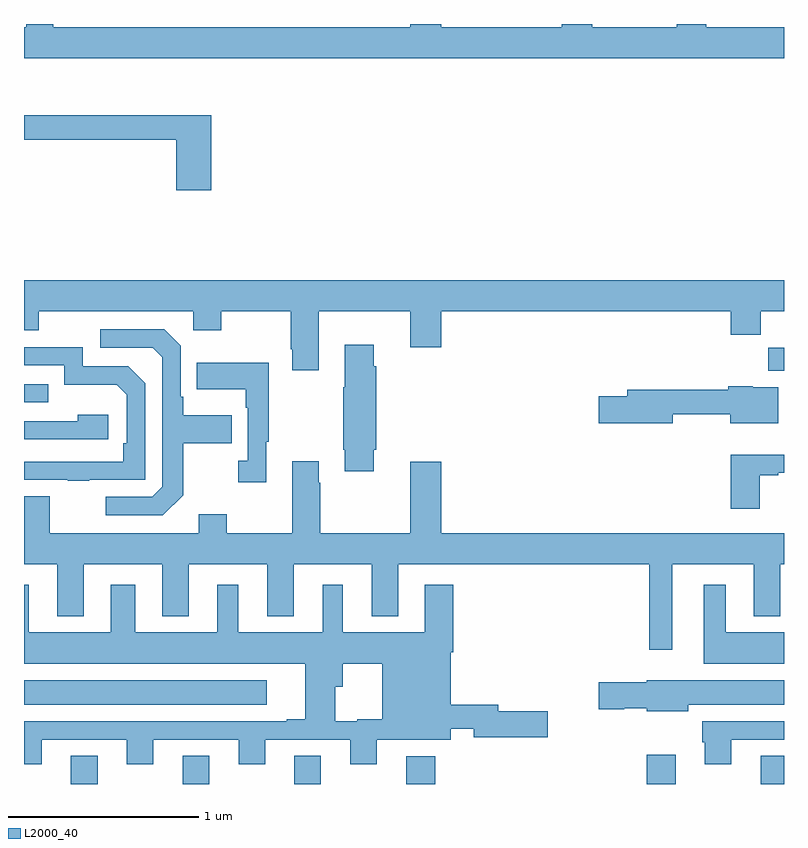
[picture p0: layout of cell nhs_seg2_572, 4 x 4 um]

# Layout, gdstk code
import gdstk
lib = gdstk.Library(unit=1e-6, precision=1e-09)
def R(c, l, rs):  # rectangles x0, y0, x1, y1
    for r in rs: c.add(gdstk.rectangle(r[:2], r[2:], *l))
def A(c, l, x, y, w, h, nx, ny, dx, dy):  # array of equal rectangles
    R(c, l, [(x+i*dx, y+j*dy, x+i*dx+w, y+j*dy+h) for i in range(nx) for j in range(ny)])
def P(c, l, *ps):  # polygons
    for p in ps: c.add(gdstk.Polygon(p, *l))
L2000_40 = (2000, 40)

nhs_seg2_572 = lib.new_cell('nhs_seg2_572')
A(nhs_seg2_572, L2000_40, 139.247, 659.8, 0.14, 0.148, 3, 1, 0.588, 0)
R(nhs_seg2_572, L2000_40, [(141.011,659.8,141.164,659.947), (142.277,659.8,142.429,659.953), (142.877,659.8,143,659.948), (139,660.218,140.278,660.346), (139,661.809,139.127,661.905), (142.918,661.976,143,662.095)])
P(nhs_seg2_572, L2000_40, [(143,663.784),(142.59,663.784),(142.59,663.8),(142.435,663.8),(142.435,663.784),(141.99,663.784),(141.99,663.8),(141.83,663.8),(141.83,663.784),(141.196,663.784),(141.196,663.8),(141.032,663.8),(141.032,663.784),(139.153,663.784),(139.153,663.8),(139.013,663.8),(139.013,663.784),(139,663.784),(139,663.62),(143,663.62)],
  [(139.985,663.319),(139,663.319),(139,663.19),(139.802,663.19),(139.802,662.925),(139.985,662.925)],
  [(140.551,662.288),(141.032,662.288),(141.032,662.1),(141.196,662.1),(141.196,662.288),(142.721,662.288),(142.721,662.164),(142.877,662.164),(142.877,662.288),(143,662.288),(143,662.452),(139,662.452),(139,662.189),(139.077,662.189),(139.077,662.288),(139.89,662.288),(139.89,662.189),(140.037,662.189),(140.037,662.288),(140.404,662.288),(140.404,662.089),(140.411,662.089),(140.411,661.977),(140.551,661.977)],
  [(139.837,661.321),(139.837,661.594),(140.093,661.594),(140.093,661.741),(139.837,661.741),(139.837,661.837),(139.824,661.837),(139.824,662.106),(139.737,662.193),(139.401,662.193),(139.401,662.097),(139.677,662.097),(139.728,662.046),(139.728,661.365),(139.674,661.311),(139.431,661.311),(139.431,661.215),(139.731,661.215)],
  [(140.842,661.558),(140.855,661.558),(140.855,662),(140.842,662),(140.842,662.113),(140.687,662.113),(140.687,661.889),(140.68,661.889),(140.68,661.558),(140.687,661.558),(140.687,661.446),(140.842,661.446)],
  [(139.343,661.401),(139.638,661.401),(139.638,661.908),(139.548,661.998),(139.308,661.998),(139.308,662.1),(139,662.1),(139,662.004),(139.212,662.004),(139.212,661.901),(139.489,661.901),(139.542,661.848),(139.542,661.594),(139.522,661.594),(139.522,661.497),(139,661.497),(139,661.401),(139.231,661.401),(139.231,661.396),(139.343,661.396)],
  [(140.275,661.601),(140.287,661.601),(140.287,662.017),(139.909,662.017),(139.909,661.877),(140.166,661.877),(140.166,661.781),(140.178,661.781),(140.178,661.502),(140.127,661.502),(140.127,661.389),(140.275,661.389)],
  [(142.414,661.747),(142.718,661.747),(142.718,661.7),(142.969,661.7),(142.969,661.888),(142.836,661.888),(142.836,661.894),(142.706,661.894),(142.706,661.876),(142.175,661.876),(142.175,661.842),(142.026,661.842),(142.026,661.7),(142.414,661.7)],
  [(139.444,661.744),(139.283,661.744),(139.283,661.71),(139,661.71),(139,661.614),(139.444,661.614)],
  [(142.873,661.425),(142.969,661.425),(142.969,661.437),(143,661.437),(143,661.534),(142.721,661.534),(142.721,661.248),(142.873,661.248)],
  [(141.196,661.495),(141.032,661.495),(141.032,661.12),(140.559,661.12),(140.559,661.385),(140.551,661.385),(140.551,661.498),(140.411,661.498),(140.411,661.12),(140.067,661.12),(140.067,661.219),(139.919,661.219),(139.919,661.12),(139.135,661.12),(139.135,661.315),(139,661.315),(139,660.956),(139.175,660.956),(139.175,660.683),(139.315,660.683),(139.315,660.956),(139.727,660.956),(139.727,660.683),(139.867,660.683),(139.867,660.956),(140.279,660.956),(140.279,660.683),(140.419,660.683),(140.419,660.956),(140.831,660.956),(140.831,660.683),(140.971,660.683),(140.971,660.956),(142.29,660.956),(142.29,660.507),(142.411,660.507),(142.411,660.956),(142.841,660.956),(142.841,660.683),(142.981,660.683),(142.981,660.956),(143,660.956),(143,661.12),(141.196,661.12)],
  [(143,660.598),(142.693,660.598),(142.693,660.85),(142.577,660.85),(142.577,660.434),(143,660.434)],
  [(139,660.129),(139,659.904),(139.093,659.904),(139.093,660.033),(139.541,660.033),(139.541,659.904),(139.681,659.904),(139.681,660.033),(140.129,660.033),(140.129,659.904),(140.269,659.904),(140.269,660.033),(140.717,660.033),(140.717,659.904),(140.857,659.904),(140.857,660.032),(141.247,660.032),(141.247,660.09),(141.368,660.09),(141.368,660.047),(141.757,660.047),(141.757,660.182),(141.496,660.182),(141.496,660.218),(141.247,660.218),(141.247,660.494),(141.26,660.494),(141.26,660.85),(141.11,660.85),(141.11,660.598),(140.677,660.598),(140.677,660.85),(140.573,660.85),(140.573,660.598),(140.128,660.598),(140.128,660.85),(140.018,660.85),(140.018,660.598),(139.585,660.598),(139.585,660.85),(139.457,660.85),(139.457,660.598),(139.024,660.598),(139.024,660.85),(139,660.85),(139,660.434),(140.48,660.434),(140.48,660.142),(140.384,660.142),(140.384,660.131),(140.638,660.131),(140.638,660.311),(140.677,660.311),(140.677,660.434),(140.885,660.434),(140.885,660.142),(140.753,660.142),(140.753,660.131),(140.638,660.131),(140.384,660.131),(140.384,660.129)],
  [(142.495,660.218),(143,660.218),(143,660.346),(142.278,660.346),(142.278,660.335),(142.026,660.335),(142.026,660.193),(142.158,660.193),(142.158,660.2),(142.278,660.2),(142.278,660.182),(142.495,660.182)],
  [(142.723,660.033),(143,660.033),(143,660.129),(142.571,660.129),(142.571,660.021),(142.583,660.021),(142.583,659.904),(142.723,659.904)])

lib.write_gds('nhs_seg2_572.gds')
